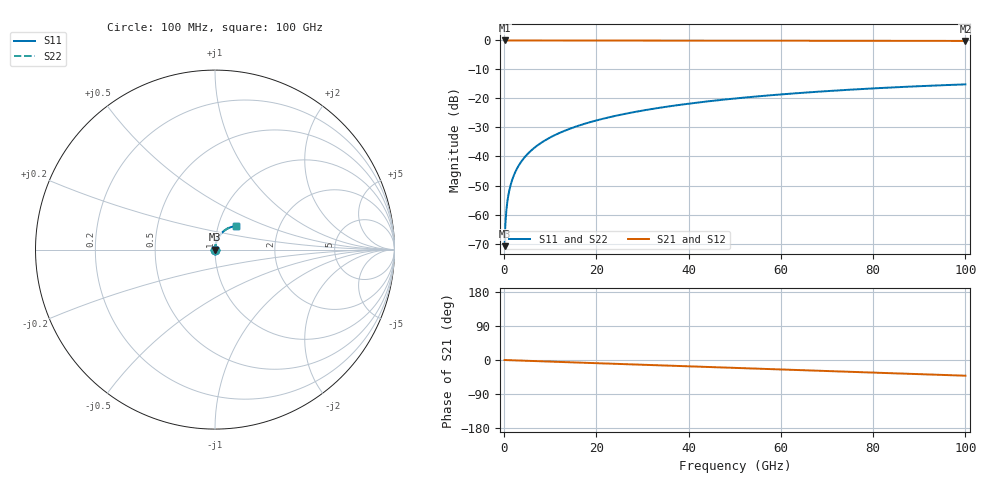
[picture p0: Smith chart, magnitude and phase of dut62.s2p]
! Touchstone file exported from HFSS 2026.1.0
!  File:  C:/ffzhzh/LocalFiles/Ansys_Project_Files/temp_train_TSV_62_1783505121_41296.aedt
!  Generated:  06:06:46 PM Jul  8, 2026
!  Design:  TSV
!  Project:  temp_train_TSV_62_1783505121_41296
! Variables:
!  h_bsmrdl = 2um
!  h_ox = 20um
!  h_rdl = 5um
!  h_sub = 76.83um
!  h_tmrdl = 5um
!  h_tsv = 76.83um
!  h_via = 3um
!  l_bsmrdl = 300um
!  l_sub = 418.46um
!  l_tmrdl = 200um
!  m_sub = 200um
!  pitch = 53.34um
!  r_tsv = 9.23um
!  s_tmrdl = 10um
!  w_bsmrdl = 18um
!  w_sub = 500um
!  w_tmrdl = 12um
!  x_tsv_center1 = 206um
!  x_tsv_center2 = 524um
!  x_tsv_center3 = 736um
!  x_tsv_center4 = 1054um
!  x_tsv_center5 = 1266um
!  x_tsv_center6 = 1584um
# GHz S MA R 50.000000
! Terminal data exported
! Port[1] = TSV1_1_T1
! Port[2] = TSV1_1_T2
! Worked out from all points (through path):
!   1000 points, 100 MHz to 100 GHz, reference 50 ohm
!   highest |S21| = 0.00 dB at 100 MHz (marker M1); lowest = -0.2 dB at 100 GHz (marker M2)
!   group delay of S21, straight-line fit = 1.15 ps
!   lowest |S11| = -70.9 dB at 100 MHz (marker M3), VSWR 1.00, Z = 50 + j0.025 ohm
!   |S11| at or under -10 dB: start of sweep to end of sweep
!   |S22| runs from -70.9 to -15.1 dB; largest |S21 - S12| = 3.9e-15
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0.1  0.0002847 61.3  0.9999 -0.0  0.9999 -0.0  0.0002847 61.3
! Gamma 0 0 0 0
! Port Impedance 50 0 50 0
0.3  0.000756 77.3  0.9998 -0.1  0.9998 -0.1  0.000756 77.3
0.7  0.001674 81.5  0.9998 -0.3  0.9998 -0.3  0.001674 81.5
0.8  0.001896 81.9  0.9997 -0.3  0.9997 -0.3  0.001896 81.9
1  0.002337 82.6  0.9997 -0.4  0.9997 -0.4  0.002337 82.6
1.3  0.002993 83.3  0.9997 -0.6  0.9997 -0.6  0.002993 83.3
1.7  0.003861 83.8  0.9996 -0.7  0.9996 -0.7  0.003861 83.8
2.3  0.005153 84.3  0.9996 -1.0  0.9996 -1.0  0.005153 84.3
3  0.006647 84.5  0.9995 -1.3  0.9995 -1.3  0.006647 84.5
3.8  0.008342 84.6  0.9994 -1.6  0.9994 -1.6  0.008342 84.6
4.8  0.01045 84.5  0.9993 -2.0  0.9993 -2.0  0.01045 84.5
6  0.01297 84.4  0.9992 -2.5  0.9992 -2.5  0.01297 84.4
8.8  0.01882 83.7  0.999 -3.7  0.999 -3.7  0.01882 83.7
12.4  0.02628 82.6  0.9986 -5.2  0.9986 -5.2  0.02628 82.6
16.8  0.03532 81.0  0.9982 -7.1  0.9982 -7.1  0.03532 81.0
24.2  0.05033 78.2  0.9973 -10.2  0.9973 -10.2  0.05033 78.2
33.4  0.06856 74.6  0.996 -14.0  0.996 -14.0  0.06856 74.6
41.2  0.08355 71.5  0.9947 -17.2  0.9947 -17.2  0.08355 71.5
50.1  0.1 67.9  0.993 -20.9  0.993 -20.9  0.1 68.0
66.7  0.1286 61.2  0.9894 -27.8  0.9894 -27.8  0.1286 61.3
83.4  0.154 54.5  0.9855 -34.6  0.9855 -34.6  0.154 54.5
100  0.175 47.8  0.9816 -41.4  0.9816 -41.4  0.175 47.9
